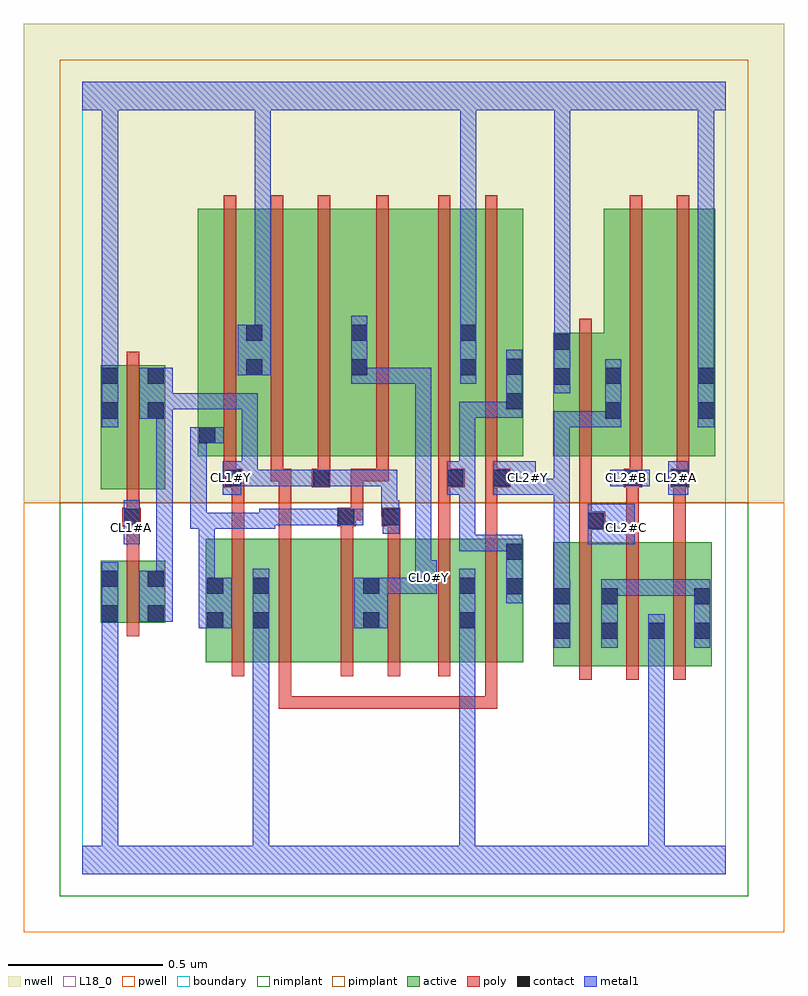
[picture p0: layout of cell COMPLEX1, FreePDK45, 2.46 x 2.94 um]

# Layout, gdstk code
import gdstk
lib = gdstk.Library(unit=1e-6, precision=1e-09)
def R(c, l, rs):  # rectangles x0, y0, x1, y1
    for r in rs: c.add(gdstk.rectangle(r[:2], r[2:], *l))
def A(c, l, x, y, w, h, nx, ny, dx, dy):  # array of equal rectangles
    R(c, l, [(x+i*dx, y+j*dy, x+i*dx+w, y+j*dy+h) for i in range(nx) for j in range(ny)])
active = (1, 0)
pwell = (2, 0)
nwell = (3, 0)
nimplant = (4, 0)
pimplant = (5, 0)
poly = (9, 0)
contact = (10, 0)
metal1 = (11, 0)
L18_0 = (18, 0)
boundary = (235, 0)

complex1 = lib.new_cell('COMPLEX1')
R(complex1, active, [(1.522,0.672,1.734,1.072), (1.674,0.672,1.886,1.072), (1.826,0.672,2.034,1.072), (0.4,0.684,0.608,1.084), (0.4,0.684,0.46,1.084), (0.548,0.684,0.78,1.084), (0.548,0.684,0.608,0.962), (0.78,0.684,0.964,1.084), (0.904,0.684,1.084,1.084), (1.084,0.684,1.274,1.084), (1.214,0.684,1.426,1.084), (0.904,0.756,0.964,0.962), (1.214,0.756,1.274,0.962), (1.366,0.756,1.426,1.084), (1.522,0.756,1.582,1.072), (1.674,0.756,1.734,1.072), (1.826,0.756,1.886,0.816), (1.974,0.756,2.034,1.072), (0.06,0.812,0.12,1.012), (0.06,0.812,0.268,1.012), (0.208,0.812,0.268,1.012), (0.06,1.244,0.268,1.644), (0.06,1.244,0.12,1.644), (0.208,1.244,0.268,1.644), (0.374,1.35,0.434,2.044), (0.374,1.35,0.586,2.15), (0.526,1.35,0.706,2.15), (0.706,1.35,0.926,2.15), (0.866,1.35,1.046,2.15), (1.046,1.35,1.278,2.15), (1.218,1.35,1.426,2.15), (1.366,1.35,1.426,2.044), (1.522,1.35,1.582,1.75), (1.522,1.35,1.746,1.75), (1.686,1.35,1.866,2.15), (1.866,1.35,2.046,2.15), (1.986,1.35,2.046,2.044), (0.526,1.388,0.586,2.044), (1.686,1.468,1.746,1.644), (1.218,1.514,1.278,2.044), (0.866,1.608,0.926,2.044)])
R(complex1, pwell, [(-0.188,-0.188,2.268,1.2)])
R(complex1, nwell, [(-0.188,1.2,2.268,2.748)])
R(complex1, nimplant, [(-0.072,-0.072,2.152,1.2)])
R(complex1, pimplant, [(-0.072,1.2,2.152,2.632)])
A(complex1, poly, 1.606, 0.628, 0.04, 0.488, 3, 1, 0.152, 0)
A(complex1, poly, 0.458, 1.27, 0.04, 0.076, 3, 1, 0.152, 0)
A(complex1, poly, 0.458, 1.306, 0.04, 0.888, 3, 1, 0.152, 0)
R(complex1, poly, [(0.636,0.534,0.676,0.574), (0.636,0.534,0.676,0.68), (0.636,0.534,0.802,0.574), (0.762,0.534,0.802,0.574), (0.762,0.534,0.802,0.574), (0.762,0.534,0.802,0.574), (0.762,0.534,0.99,0.574), (0.95,0.534,0.99,0.574), (0.95,0.534,0.99,0.574), (0.95,0.534,0.99,0.574), (0.95,0.534,1.096,0.574), (1.056,0.534,1.096,0.574), (1.056,0.534,1.236,0.574), (1.196,0.534,1.236,0.574), (1.196,0.534,1.342,0.574), (1.302,0.534,1.342,0.574), (1.302,0.534,1.342,0.574), (1.302,0.534,1.342,0.574), (1.302,0.534,1.342,0.68), (0.484,0.64,0.524,1.128), (0.636,0.64,0.676,1.128), (0.836,0.64,0.876,1.128), (0.988,0.64,1.028,1.128), (1.15,0.64,1.19,1.128), (1.302,0.64,1.342,1.128), (0.144,0.768,0.184,1.056), (0.144,1.016,0.184,1.164), (1.606,1.076,1.646,1.152), (1.758,1.076,1.798,1.29), (1.91,1.076,1.95,1.29), (0.484,1.088,0.524,1.29), (0.636,1.088,0.676,1.31), (0.836,1.088,0.876,1.164), (0.988,1.088,1.028,1.164), (1.15,1.088,1.19,1.29), (1.302,1.088,1.342,1.29), (1.606,1.112,1.69,1.172), (0.13,1.124,0.19,1.184), (0.824,1.124,0.884,1.184), (0.968,1.124,1.028,1.184), (1.606,1.132,1.646,1.172), (1.606,1.132,1.646,1.172), (1.606,1.132,1.646,1.346), (0.144,1.144,0.184,1.184), (0.144,1.144,0.184,1.184), (0.144,1.144,0.184,1.24), (0.844,1.144,0.908,1.184), (0.868,1.144,0.908,1.184), (0.868,1.144,0.908,1.31), (0.144,1.2,0.184,1.688), (0.458,1.25,0.518,1.31), (0.478,1.25,0.518,1.29), (0.478,1.25,0.524,1.29), (0.742,1.25,0.802,1.31), (1.15,1.25,1.19,1.29), (1.15,1.25,1.19,1.29), (1.15,1.25,1.236,1.31), (1.302,1.25,1.384,1.31), (1.75,1.25,1.81,1.31), (1.758,1.25,1.798,1.29), (1.758,1.25,1.798,1.29), (1.902,1.25,1.962,1.31), (0.61,1.27,0.65,1.31), (0.61,1.27,0.65,1.31), (0.61,1.27,0.676,1.31), (0.868,1.27,0.908,1.31), (0.868,1.27,0.99,1.31), (0.95,1.27,0.99,1.346), (0.95,1.27,0.99,1.31), (1.15,1.27,1.19,1.346), (1.302,1.27,1.342,1.346), (1.302,1.27,1.342,1.31), (1.302,1.27,1.342,1.31), (1.77,1.27,1.81,1.346), (1.922,1.27,1.962,1.346), (1.922,1.27,1.962,1.31), (1.922,1.27,1.962,1.31), (0.95,1.306,0.99,2.194), (1.15,1.306,1.19,2.194), (1.302,1.306,1.342,2.194), (1.606,1.306,1.646,1.794), (1.77,1.306,1.81,2.194), (1.922,1.306,1.962,2.194)])
A(complex1, contact, 1.526, 0.76, 0.052, 0.052, 3, 1, 0.152, 0)
R(complex1, contact, [(1.978,0.76,2.03,0.812), (0.404,0.794,0.456,0.846), (0.552,0.794,0.604,0.846), (0.908,0.794,0.96,0.846), (1.218,0.794,1.27,0.846), (0.064,0.816,0.116,0.868), (0.212,0.816,0.264,0.868), (1.526,0.872,1.578,0.924), (1.678,0.872,1.73,0.924), (1.978,0.872,2.03,0.924), (1.37,0.904,1.422,0.956), (0.404,0.906,0.456,0.958), (0.552,0.906,0.604,0.958), (0.908,0.906,0.96,0.958), (1.218,0.906,1.27,0.958), (0.064,0.928,0.116,0.98), (0.212,0.928,0.264,0.98), (1.37,1.016,1.422,1.068), (1.634,1.116,1.686,1.168), (0.134,1.128,0.186,1.18), (0.828,1.128,0.88,1.18), (0.972,1.128,1.024,1.18), (0.462,1.254,0.514,1.306), (0.746,1.254,0.798,1.306), (1.18,1.254,1.232,1.306), (1.328,1.254,1.38,1.306), (1.754,1.254,1.806,1.306), (1.906,1.254,1.958,1.306), (0.378,1.392,0.43,1.444), (0.064,1.472,0.116,1.524), (0.212,1.472,0.264,1.524), (1.69,1.472,1.742,1.524), (1.99,1.472,2.042,1.524), (1.37,1.502,1.422,1.554), (1.526,1.582,1.578,1.634), (0.064,1.584,0.116,1.636), (0.212,1.584,0.264,1.636), (1.69,1.584,1.742,1.636), (1.99,1.584,2.042,1.636), (0.53,1.612,0.582,1.664), (0.87,1.612,0.922,1.664), (1.222,1.612,1.274,1.664), (1.37,1.614,1.422,1.666), (1.526,1.694,1.578,1.746), (0.53,1.724,0.582,1.776), (0.87,1.724,0.922,1.776), (1.222,1.724,1.274,1.776)])
R(complex1, metal1, [(0,0,2.08,0.092), (0.064,0.04,0.116,0.092), (0.064,0.04,0.116,0.092), (0.064,0.04,0.116,0.092), (0.064,0.04,0.116,0.092), (0.064,0.04,0.116,0.092), (0.064,0.04,0.116,0.092), (0.064,0.04,0.116,0.092), (0.064,0.04,0.116,0.092), (0.064,0.04,0.116,0.092), (0.064,0.04,0.116,0.092), (0.064,0.04,0.116,0.092), (0.064,0.04,0.116,0.092), (0.064,0.04,0.116,0.092), (0.064,0.04,0.116,0.092), (0.064,0.04,0.116,0.092), (0.064,0.04,0.116,0.092), (0.064,0.04,0.116,0.84), (0.552,0.04,0.604,0.092), (0.552,0.04,0.604,0.092), (0.552,0.04,0.604,0.092), (0.552,0.04,0.604,0.092), (0.552,0.04,0.604,0.092), (0.552,0.04,0.604,0.092), (0.552,0.04,0.604,0.092), (0.552,0.04,0.604,0.092), (0.552,0.04,0.604,0.092), (0.552,0.04,0.604,0.092), (0.552,0.04,0.604,0.092), (0.552,0.04,0.604,0.092), (0.552,0.04,0.604,0.818), (1.218,0.04,1.27,0.092), (1.218,0.04,1.27,0.092), (1.218,0.04,1.27,0.092), (1.218,0.04,1.27,0.092), (1.218,0.04,1.27,0.092), (1.218,0.04,1.27,0.092), (1.218,0.04,1.27,0.092), (1.218,0.04,1.27,0.092), (1.218,0.04,1.27,0.092), (1.218,0.04,1.27,0.092), (1.218,0.04,1.27,0.818), (1.83,0.04,1.882,0.092), (1.83,0.04,1.882,0.092), (1.83,0.04,1.882,0.092), (1.83,0.04,1.882,0.092), (1.83,0.04,1.882,0.092), (1.83,0.04,1.882,0.092), (1.83,0.04,1.882,0.092), (1.83,0.04,1.882,0.092), (1.83,0.04,1.882,0.092), (1.83,0.04,1.882,0.092), (1.83,0.04,1.882,0.784), (1.524,0.732,1.578,0.952), (1.678,0.732,1.73,0.952), (1.83,0.732,1.882,0.784), (1.83,0.732,1.882,0.784), (1.83,0.732,1.882,0.84), (1.978,0.732,2.03,0.952), (0.552,0.766,0.604,0.986), (1.218,0.766,1.27,0.818), (1.218,0.766,1.27,0.818), (1.218,0.766,1.27,0.986), (0.064,0.788,0.116,1.008), (0.376,0.794,0.484,0.958), (0.88,0.794,0.988,0.958), (0.184,0.816,0.292,0.98), (1.37,0.876,1.422,1.096), (1.524,0.9,1.576,1.278), (1.678,0.9,1.73,0.952), (1.678,0.9,1.73,0.952), (1.678,0.9,1.92,0.952), (1.868,0.9,1.92,0.952), (1.868,0.9,2.03,0.952), (1.978,0.9,2.03,0.952), (1.978,0.9,2.03,0.952), (0.376,0.906,0.428,1.168), (0.936,0.906,1.122,0.958), (1.07,0.906,1.122,0.958), (1.07,0.906,1.128,0.958), (1.076,0.906,1.128,0.958), (1.076,0.906,1.128,0.958), (1.076,0.906,1.146,1.014), (0.24,0.928,0.292,1.524), (1.076,0.962,1.128,1.636), (1.218,1.044,1.27,1.096), (1.218,1.044,1.422,1.096), (1.218,1.044,1.27,1.278), (1.37,1.044,1.422,1.096), (1.37,1.044,1.422,1.096), (0.134,1.066,0.186,1.208), (1.634,1.066,1.786,1.196), (0.972,1.1,1.024,1.208), (0.35,1.116,0.402,1.168), (0.35,1.116,0.402,1.168), (0.35,1.116,0.402,1.444), (0.35,1.116,0.428,1.168), (0.376,1.116,0.428,1.168), (0.376,1.116,0.428,1.168), (0.376,1.116,0.624,1.168), (0.572,1.116,0.624,1.168), (0.572,1.116,0.624,1.168), (0.572,1.116,0.624,1.18), (0.572,1.128,0.734,1.18), (0.682,1.128,0.734,1.18), (0.682,1.128,0.852,1.18), (0.8,1.128,0.908,1.18), (0.966,1.156,1.018,1.208), (0.966,1.156,1.024,1.208), (0.966,1.156,1.018,1.306), (0.454,1.226,0.514,1.334), (1.18,1.226,1.232,1.334), (1.18,1.226,1.27,1.278), (1.218,1.226,1.27,1.278), (1.218,1.226,1.27,1.278), (1.218,1.226,1.27,1.278), (1.218,1.226,1.27,1.526), (1.328,1.226,1.466,1.334), (1.414,1.226,1.466,1.278), (1.414,1.226,1.466,1.278), (1.414,1.226,1.576,1.278), (1.524,1.226,1.576,1.278), (1.524,1.226,1.576,1.278), (1.524,1.226,1.576,1.278), (1.524,1.226,1.576,1.496), (1.894,1.226,1.958,1.334), (0.462,1.254,0.568,1.306), (0.516,1.254,0.568,1.306), (0.516,1.254,0.568,1.306), (0.516,1.254,0.568,1.306), (0.516,1.254,0.568,1.554), (0.516,1.254,0.624,1.306), (0.572,1.254,0.624,1.306), (0.572,1.254,0.77,1.306), (0.718,1.254,0.77,1.306), (0.718,1.254,0.77,1.306), (0.718,1.254,0.826,1.306), (0.774,1.254,1.018,1.306), (0.966,1.254,1.018,1.306), (1.706,1.254,1.834,1.306), (0.35,1.392,0.458,1.444), (0.064,1.444,0.116,1.664), (1.524,1.444,1.576,1.496), (1.524,1.444,1.576,1.496), (1.524,1.444,1.576,1.496), (1.524,1.444,1.742,1.496), (1.69,1.444,1.742,1.664), (1.99,1.444,2.042,1.664), (0.184,1.472,0.292,1.636), (0.24,1.472,0.292,1.524), (0.24,1.472,0.292,1.524), (0.24,1.472,0.292,1.524), (0.24,1.472,0.292,1.524), (0.24,1.472,0.292,1.524), (0.24,1.472,0.292,1.524), (1.218,1.474,1.27,1.526), (1.218,1.474,1.422,1.526), (1.37,1.474,1.422,1.526), (1.37,1.474,1.422,1.526), (1.37,1.474,1.422,1.694), (0.24,1.502,0.444,1.554), (0.392,1.502,0.444,1.554), (0.392,1.502,0.444,1.554), (0.392,1.502,0.444,1.554), (0.392,1.502,0.568,1.554), (0.516,1.502,0.568,1.554), (1.526,1.554,1.578,1.774), (0.87,1.584,0.922,1.804), (0.87,1.584,1.122,1.636), (1.07,1.584,1.122,1.636), (1.07,1.584,1.128,1.636), (1.076,1.584,1.128,1.636), (1.076,1.584,1.128,1.636), (1.076,1.584,1.128,1.636), (1.222,1.584,1.274,1.804), (0.064,1.612,0.116,1.664), (0.064,1.612,0.116,1.664), (0.064,1.612,0.116,1.664), (0.064,1.612,0.116,1.664), (0.064,1.612,0.116,1.664), (0.064,1.612,0.116,1.664), (0.064,1.612,0.116,1.664), (0.064,1.612,0.116,1.664), (0.064,1.612,0.116,1.664), (0.064,1.612,0.116,1.664), (0.064,1.612,0.116,2.52), (0.502,1.612,0.61,1.776), (1.99,1.612,2.042,2.52), (1.526,1.722,1.578,1.774), (1.526,1.722,1.578,1.774), (1.526,1.722,1.578,1.774), (1.526,1.722,1.578,1.774), (1.526,1.722,1.578,1.774), (1.526,1.722,1.578,1.774), (1.526,1.722,1.578,1.774), (1.526,1.722,1.578,1.774), (1.526,1.722,1.578,1.774), (1.526,1.722,1.578,1.774), (1.526,1.722,1.578,1.774), (1.526,1.722,1.578,1.774), (1.526,1.722,1.578,2.52), (0.558,1.724,0.61,1.776), (0.558,1.724,0.61,1.776), (0.558,1.724,0.61,2.52), (1.222,1.752,1.274,2.52), (0,2.468,2.08,2.56), (0.064,2.468,0.116,2.52), (0.064,2.468,0.116,2.52), (0.064,2.468,0.116,2.52), (0.064,2.468,0.116,2.52), (0.064,2.468,0.116,2.52), (0.064,2.468,0.116,2.52), (0.558,2.468,0.61,2.52), (0.558,2.468,0.61,2.52), (0.558,2.468,0.61,2.52), (0.558,2.468,0.61,2.52), (0.558,2.468,0.61,2.52), (0.558,2.468,0.61,2.52), (1.222,2.468,1.274,2.52), (1.222,2.468,1.274,2.52), (1.222,2.468,1.274,2.52), (1.222,2.468,1.274,2.52), (1.222,2.468,1.274,2.52), (1.222,2.468,1.274,2.52), (1.222,2.468,1.274,2.52), (1.222,2.468,1.274,2.52), (1.526,2.468,1.578,2.52), (1.526,2.468,1.578,2.52), (1.526,2.468,1.578,2.52), (1.526,2.468,1.578,2.52), (1.99,2.468,2.042,2.52), (1.99,2.468,2.042,2.52), (1.99,2.468,2.042,2.52), (1.99,2.468,2.042,2.52), (1.99,2.468,2.042,2.52), (1.99,2.468,2.042,2.52), (1.99,2.468,2.042,2.52), (1.99,2.468,2.042,2.52)])
R(complex1, L18_0, [(0,0,2.08,0.092), (0.064,0.04,0.116,0.092), (0.064,0.04,0.116,0.092), (0.064,0.04,0.116,0.092), (0.064,0.04,0.116,0.092), (0.064,0.04,0.116,0.092), (0.064,0.04,0.116,0.092), (0.064,0.04,0.116,0.092), (0.064,0.04,0.116,0.092), (0.064,0.04,0.116,0.092), (0.064,0.04,0.116,0.092), (0.064,0.04,0.116,0.092), (0.064,0.04,0.116,0.092), (0.064,0.04,0.116,0.092), (0.064,0.04,0.116,0.092), (0.064,0.04,0.116,0.092), (0.064,0.04,0.116,0.092), (0.064,0.04,0.116,0.84), (0.552,0.04,0.604,0.092), (0.552,0.04,0.604,0.092), (0.552,0.04,0.604,0.092), (0.552,0.04,0.604,0.092), (0.552,0.04,0.604,0.092), (0.552,0.04,0.604,0.092), (0.552,0.04,0.604,0.092), (0.552,0.04,0.604,0.092), (0.552,0.04,0.604,0.092), (0.552,0.04,0.604,0.092), (0.552,0.04,0.604,0.092), (0.552,0.04,0.604,0.092), (0.552,0.04,0.604,0.818), (1.218,0.04,1.27,0.092), (1.218,0.04,1.27,0.092), (1.218,0.04,1.27,0.092), (1.218,0.04,1.27,0.092), (1.218,0.04,1.27,0.092), (1.218,0.04,1.27,0.092), (1.218,0.04,1.27,0.092), (1.218,0.04,1.27,0.092), (1.218,0.04,1.27,0.092), (1.218,0.04,1.27,0.092), (1.218,0.04,1.27,0.818), (1.83,0.04,1.882,0.092), (1.83,0.04,1.882,0.092), (1.83,0.04,1.882,0.092), (1.83,0.04,1.882,0.092), (1.83,0.04,1.882,0.092), (1.83,0.04,1.882,0.092), (1.83,0.04,1.882,0.092), (1.83,0.04,1.882,0.092), (1.83,0.04,1.882,0.092), (1.83,0.04,1.882,0.092), (1.83,0.04,1.882,0.784), (1.524,0.732,1.578,0.952), (1.83,0.732,1.882,0.784), (1.83,0.732,1.882,0.784), (1.83,0.732,1.882,0.84), (0.552,0.766,0.604,0.986), (1.218,0.766,1.27,0.818), (1.218,0.766,1.27,0.818), (1.218,0.766,1.27,0.986), (0.064,0.788,0.116,1.008), (0.88,0.794,0.988,0.958), (0.184,0.816,0.292,0.98), (1.524,0.9,1.576,1.278), (0.936,0.906,1.122,0.958), (1.07,0.906,1.122,0.958), (1.07,0.906,1.128,0.958), (1.076,0.906,1.128,0.958), (1.076,0.906,1.128,0.958), (1.076,0.906,1.146,1.014), (0.24,0.928,0.292,1.524), (1.094,0.934,1.146,0.986), (1.076,0.962,1.128,1.636), (0.134,1.066,0.186,1.208), (1.634,1.066,1.786,1.196), (0.134,1.094,0.186,1.146), (1.734,1.094,1.786,1.146), (0.972,1.1,1.024,1.208), (0.966,1.156,1.018,1.208), (0.966,1.156,1.018,1.306), (0.966,1.156,1.024,1.208), (0.454,1.226,0.514,1.334), (1.328,1.226,1.466,1.334), (1.414,1.226,1.466,1.278), (1.414,1.226,1.466,1.278), (1.414,1.226,1.576,1.278), (1.524,1.226,1.576,1.278), (1.524,1.226,1.576,1.278), (1.524,1.226,1.576,1.278), (1.524,1.226,1.576,1.496), (1.894,1.226,1.958,1.334), (0.454,1.254,0.506,1.306), (0.462,1.254,0.568,1.306), (0.516,1.254,0.568,1.306), (0.516,1.254,0.568,1.306), (0.516,1.254,0.568,1.306), (0.516,1.254,0.568,1.554), (0.516,1.254,0.624,1.306), (0.572,1.254,0.624,1.306), (0.572,1.254,0.77,1.306), (0.718,1.254,0.77,1.306), (0.718,1.254,0.77,1.306), (0.718,1.254,0.826,1.306), (0.774,1.254,1.018,1.306), (0.966,1.254,1.018,1.306), (1.414,1.254,1.466,1.306), (1.706,1.254,1.834,1.306), (1.734,1.254,1.786,1.306), (1.894,1.254,1.946,1.306), (0.064,1.444,0.116,1.664), (1.524,1.444,1.576,1.496), (1.524,1.444,1.576,1.496), (1.524,1.444,1.576,1.496), (1.524,1.444,1.742,1.496), (1.69,1.444,1.742,1.664), (1.99,1.444,2.042,1.664), (0.184,1.472,0.292,1.636), (0.24,1.472,0.292,1.524), (0.24,1.472,0.292,1.524), (0.24,1.472,0.292,1.524), (0.24,1.472,0.292,1.524), (0.24,1.472,0.292,1.524), (0.24,1.472,0.292,1.524), (0.24,1.502,0.444,1.554), (0.392,1.502,0.444,1.554), (0.392,1.502,0.444,1.554), (0.392,1.502,0.444,1.554), (0.392,1.502,0.568,1.554), (0.516,1.502,0.568,1.554), (1.526,1.554,1.578,1.774), (0.87,1.584,0.922,1.804), (0.87,1.584,1.122,1.636), (1.07,1.584,1.122,1.636), (1.07,1.584,1.128,1.636), (1.076,1.584,1.128,1.636), (1.076,1.584,1.128,1.636), (1.076,1.584,1.128,1.636), (1.222,1.584,1.274,1.804), (0.064,1.612,0.116,1.664), (0.064,1.612,0.116,1.664), (0.064,1.612,0.116,1.664), (0.064,1.612,0.116,1.664), (0.064,1.612,0.116,1.664), (0.064,1.612,0.116,1.664), (0.064,1.612,0.116,1.664), (0.064,1.612,0.116,1.664), (0.064,1.612,0.116,1.664), (0.064,1.612,0.116,1.664), (0.064,1.612,0.116,2.52), (0.502,1.612,0.61,1.776), (1.99,1.612,2.042,2.52), (1.526,1.722,1.578,1.774), (1.526,1.722,1.578,1.774), (1.526,1.722,1.578,1.774), (1.526,1.722,1.578,1.774), (1.526,1.722,1.578,1.774), (1.526,1.722,1.578,1.774), (1.526,1.722,1.578,1.774), (1.526,1.722,1.578,1.774), (1.526,1.722,1.578,1.774), (1.526,1.722,1.578,1.774), (1.526,1.722,1.578,1.774), (1.526,1.722,1.578,1.774), (1.526,1.722,1.578,2.52), (0.558,1.724,0.61,1.776), (0.558,1.724,0.61,1.776), (0.558,1.724,0.61,2.52), (1.222,1.752,1.274,2.52), (0,2.468,2.08,2.56), (0.064,2.468,0.116,2.52), (0.064,2.468,0.116,2.52), (0.064,2.468,0.116,2.52), (0.064,2.468,0.116,2.52), (0.064,2.468,0.116,2.52), (0.064,2.468,0.116,2.52), (0.558,2.468,0.61,2.52), (0.558,2.468,0.61,2.52), (0.558,2.468,0.61,2.52), (0.558,2.468,0.61,2.52), (0.558,2.468,0.61,2.52), (0.558,2.468,0.61,2.52), (1.222,2.468,1.274,2.52), (1.222,2.468,1.274,2.52), (1.222,2.468,1.274,2.52), (1.222,2.468,1.274,2.52), (1.222,2.468,1.274,2.52), (1.222,2.468,1.274,2.52), (1.222,2.468,1.274,2.52), (1.222,2.468,1.274,2.52), (1.526,2.468,1.578,2.52), (1.526,2.468,1.578,2.52), (1.526,2.468,1.578,2.52), (1.526,2.468,1.578,2.52), (1.99,2.468,2.042,2.52), (1.99,2.468,2.042,2.52), (1.99,2.468,2.042,2.52), (1.99,2.468,2.042,2.52), (1.99,2.468,2.042,2.52), (1.99,2.468,2.042,2.52), (1.99,2.468,2.042,2.52), (1.99,2.468,2.042,2.52)])
R(complex1, boundary, [(0,0,2.08,2.56)])
complex1.add(gdstk.Label('CL0#Y', (1.12,0.96), layer=11, texttype=0))
complex1.add(gdstk.Label('CL1#A', (0.16,1.12), layer=11, texttype=0))
complex1.add(gdstk.Label('CL1#Y', (0.48,1.28), layer=11, texttype=0))
complex1.add(gdstk.Label('CL2#A', (1.92,1.28), layer=11, texttype=0))
complex1.add(gdstk.Label('CL2#B', (1.76,1.28), layer=11, texttype=0))
complex1.add(gdstk.Label('CL2#C', (1.76,1.12), layer=11, texttype=0))
complex1.add(gdstk.Label('CL2#Y', (1.44,1.28), layer=11, texttype=0))

lib.write_gds('COMPLEX1.gds')
